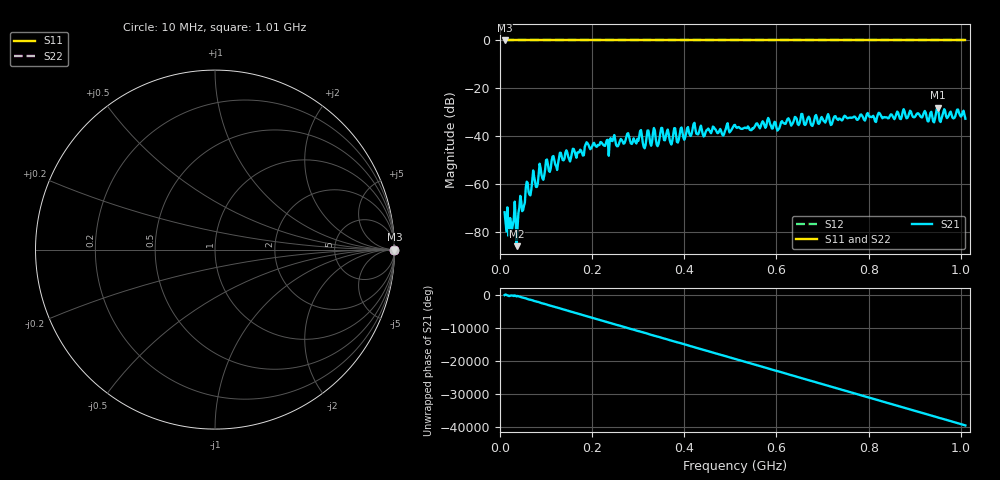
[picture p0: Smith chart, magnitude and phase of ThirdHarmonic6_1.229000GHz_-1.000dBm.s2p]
! 8/16/2025 12:57:56 PM
! C:\ANRITSUVNA\TEMP\TEMP.S2P
! CHANNEL.1
! TR.MEASUREMENT
! RAW.DATA
! RF.CORRECTION.OFF
! AVERAGING.OFF
! IF.BANDWIDTH: 5KHZ
! SWEEPTYPE:  FREQ.SWEEP(Linear)
! Reference Plane Port Info
! PORT:  PORT1  PORT2
! DISTANCE:  0  m  0  m
! TIME:  0  s  0  s
! PHASE.OFFSET:  0  deg.  0  deg.
! LOSS:  0  dB  0  dB
! REF.LOSS:  0  dB  0  dB
! REF.FREQ:  0  Hz  0  Hz
! Power Info
! POWER:  -20  dBm  -20  dBm
! EFF.POWER:  -20  dBm  -20  dBm
! SOURCE.ATTEN:  0  dB  0  dB
! TEST.ATTEN:  0  dB  0  dB
# GHZ S RI R 50.0
! FREQ.GHZ  S11RE  S11IM  S21RE  S21IM  S12RE  S12IM  S22RE  S22IM
!; PortSelection: Port_12
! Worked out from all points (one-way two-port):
!   501 points, 10 MHz to 1.01 GHz, reference 50 ohm
!   highest |S21| = -28.17 dB at 950 MHz (marker M1); lowest = -86.1 dB at 36 MHz (marker M2)
!   lowest |S11| = 0.0 dB at 10 MHz (marker M3)
!   |S11| at or under -10 dB: nowhere
!   |S22| runs from 0.0 to 0.0 dB; largest |S21 - S12| = 1
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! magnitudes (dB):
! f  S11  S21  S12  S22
! 10 MHz  0.0  -71.9  0.0  0.0
! 22 MHz  0.0  -74.3  0.0  0.0
! 36 MHz  0.0  -86.1  0.0  0.0
! 50 MHz  0.0  -71.1  0.0  0.0
! 58 MHz  0.0  -59.1  0.0  0.0
! 88 MHz  0.0  -53.3  0.0  0.0
! 94 MHz  0.0  -58.3  0.0  0.0
! 102 MHz  0.0  -49.8  0.0  0.0
! 178 MHz  0.0  -47.2  0.0  0.0
! 188 MHz  0.0  -42.6  0.0  0.0
! 256 MHz  0.0  -44.2  0.0  0.0
! 276 MHz  0.0  -39.1  0.0  0.0
! 344 MHz  0.0  -43.4  0.0  0.0
! 350 MHz  0.0  -36.6  0.0  0.0
! 372 MHz  0.0  -43.6  0.0  0.0
! 420 MHz  0.0  -35.0  0.0  0.0
! 484 MHz  0.0  -39.8  0.0  0.0
! 510 MHz  0.0  -35.3  0.0  0.0
! 678 MHz  0.0  -35.8  0.0  0.0
! 844 MHz  0.0  -32.5  0.0  0.0
! 950 MHz  0.0  -28.2  0.0  0.0
! 1.01 GHz  0.0  -32.7  0.0  0.0
